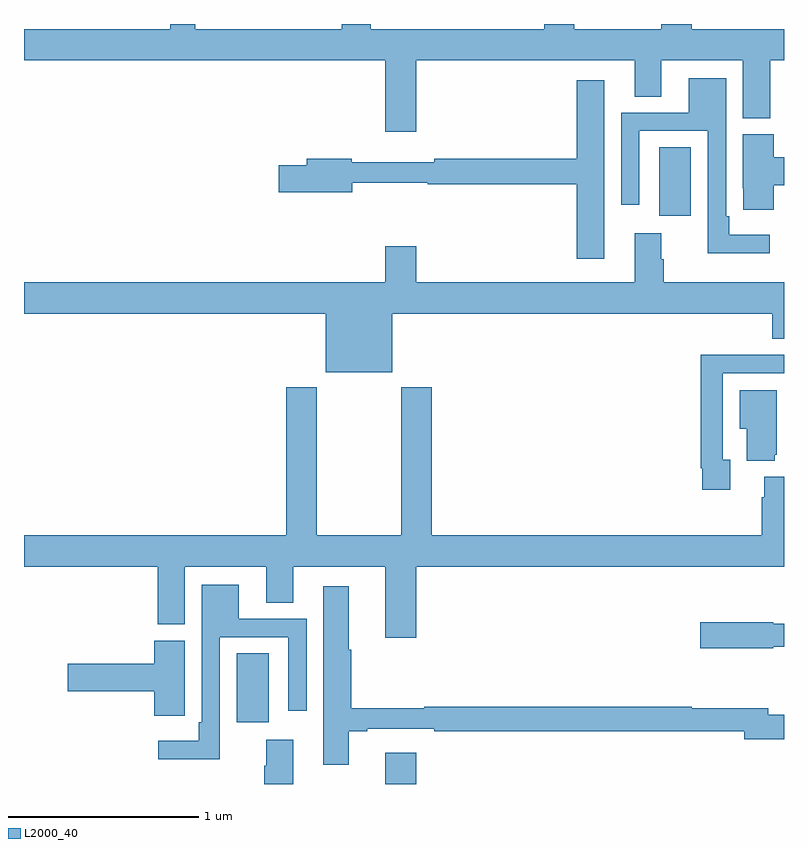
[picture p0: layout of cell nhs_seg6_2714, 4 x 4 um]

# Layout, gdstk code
import gdstk
lib = gdstk.Library(unit=1e-6, precision=1e-09)
def R(c, l, rs):  # rectangles x0, y0, x1, y1
    for r in rs: c.add(gdstk.rectangle(r[:2], r[2:], *l))
def P(c, l, *ps):  # polygons
    for p in ps: c.add(gdstk.Polygon(p, *l))
L2000_40 = (2000, 40)

nhs_seg6_2714 = lib.new_cell('nhs_seg6_2714')
R(nhs_seg6_2714, L2000_40, [(272.9,971.5,273.064,971.665), (272.12,971.826,272.287,972.188), (274.343,974.49,274.51,974.852)])
P(nhs_seg6_2714, L2000_40, [(273.064,975.308),(274.214,975.308),(274.214,975.118),(274.354,975.118),(274.354,975.308),(274.784,975.308),(274.784,975.004),(274.928,975.004),(274.928,975.308),(275,975.308),(275,975.472),(274.514,975.472),(274.514,975.5),(274.354,975.5),(274.354,975.472),(273.897,975.472),(273.897,975.5),(273.737,975.5),(273.737,975.472),(272.825,975.472),(272.825,975.5),(272.672,975.5),(272.672,975.472),(271.901,975.472),(271.901,975.5),(271.771,975.5),(271.771,975.472),(271,975.472),(271,975.308),(272.9,975.308),(272.9,974.934),(273.064,974.934)],
  [(274.924,974.392),(274.711,974.392),(274.711,974.488),(274.695,974.488),(274.695,975.214),(274.499,975.214),(274.499,975.033),(274.143,975.033),(274.143,974.55),(274.239,974.55),(274.239,974.937),(274.599,974.937),(274.599,974.294),(274.924,974.294)],
  [(274.054,975.205),(273.908,975.205),(273.908,974.792),(273.16,974.792),(273.16,974.773),(272.724,974.773),(272.724,974.792),(272.489,974.792),(272.489,974.756),(272.34,974.756),(272.34,974.614),(272.728,974.614),(272.728,974.664),(273.124,974.664),(273.124,974.656),(273.908,974.656),(273.908,974.265),(274.054,974.265)],
  [(274.946,974.651),(275,974.651),(275,974.798),(274.946,974.798),(274.946,974.919),(274.784,974.919),(274.784,974.635),(274.785,974.635),(274.785,974.523),(274.946,974.523)],
  [(272.938,973.976),(274.937,973.976),(274.937,973.843),(275,973.843),(275,974.14),(274.367,974.14),(274.367,974.261),(274.354,974.261),(274.354,974.398),(274.214,974.398),(274.214,974.14),(273.064,974.14),(273.064,974.329),(272.9,974.329),(272.9,974.14),(271,974.14),(271,973.976),(272.588,973.976),(272.588,973.667),(272.938,973.667)],
  [(274.717,973.206),(274.677,973.206),(274.677,973.662),(275,973.662),(275,973.758),(274.853,973.758),(274.853,973.76),(274.561,973.76),(274.561,973.162),(274.569,973.162),(274.569,973.05),(274.717,973.05)],
  [(273.064,972.644),(275,972.644),(275,973.117),(274.895,973.117),(274.895,973.01),(274.883,973.01),(274.883,972.808),(273.146,972.808),(273.146,973.588),(272.986,973.588),(272.986,972.808),(272.541,972.808),(272.541,973.588),(272.381,973.588),(272.381,972.808),(271,972.808),(271,972.644),(271.703,972.644),(271.703,972.34),(271.846,972.34),(271.846,972.644),(272.276,972.644),(272.276,972.454),(272.416,972.454),(272.416,972.644),(272.9,972.644),(272.9,972.27),(273.064,972.27)],
  [(274.952,973.233),(274.963,973.233),(274.963,973.573),(274.766,973.573),(274.766,973.37),(274.805,973.37),(274.805,973.202),(274.952,973.202)],
  [(272.031,972.273),(272.391,972.273),(272.391,971.886),(272.487,971.886),(272.487,972.369),(272.131,972.369),(272.131,972.55),(271.935,972.55),(271.935,971.824),(271.919,971.824),(271.919,971.728),(271.707,971.728),(271.707,971.63),(272.031,971.63)],
  [(272.71,971.778),(272.806,971.778),(272.806,971.79),(273.16,971.79),(273.16,971.778),(274.79,971.778),(274.79,971.735),(275,971.735),(275,971.865),(274.918,971.865),(274.918,971.899),(274.514,971.899),(274.514,971.906),(273.106,971.906),(273.106,971.899),(272.723,971.899),(272.723,972.206),(272.71,972.206),(272.71,972.541),(272.576,972.541),(272.576,971.601),(272.71,971.601)],
  [(274.944,972.222),(275,972.222),(275,972.343),(274.944,972.343),(274.944,972.351),(274.56,972.351),(274.56,972.214),(274.944,972.214)],
  [(271.845,971.971),(271.846,971.971),(271.846,972.255),(271.685,972.255),(271.685,972.134),(271.23,972.134),(271.23,971.987),(271.685,971.987),(271.685,971.859),(271.845,971.859)],
  [(272.416,971.734),(272.276,971.734),(272.276,971.597),(272.264,971.597),(272.264,971.5),(272.416,971.5)])

lib.write_gds('nhs_seg6_2714.gds')
